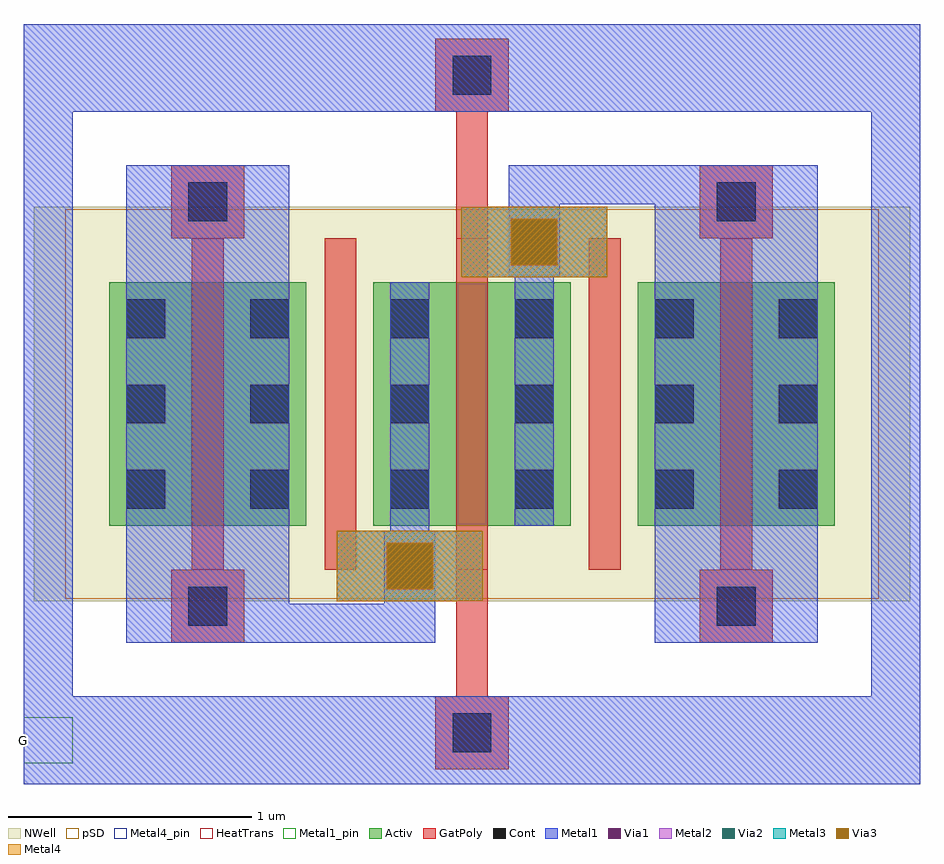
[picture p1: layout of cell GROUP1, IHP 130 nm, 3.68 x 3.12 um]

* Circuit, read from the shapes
.subckt GROUP1 G
XM1 pmos_priv1_1/S pmos_priv1_1/S pmos_priv1_1/S n1 sg13_lv_pmos w=1u l=0.13u
XM2 pmos_priv1_1/D G pmos_priv1_1/S n1 sg13_lv_pmos w=1u l=0.13u
XM3 pmos_priv1_1/D pmos_priv1_1/D pmos_priv1_1/D n1 sg13_lv_pmos w=1u l=0.13u
.ends

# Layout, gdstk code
from math import pi, radians
import gdstk
lib = gdstk.Library(unit=1e-6, precision=1e-09)
def R(c, l, rs):  # rectangles x0, y0, x1, y1
    for r in rs: c.add(gdstk.rectangle(r[:2], r[2:], *l))
def A(c, l, x, y, w, h, nx, ny, dx, dy):  # array of equal rectangles
    R(c, l, [(x+i*dx, y+j*dy, x+i*dx+w, y+j*dy+h) for i in range(nx) for j in range(ny)])
Activ = (1, 0)
GatPoly = (5, 0)
Cont = (6, 0)
Metal1 = (8, 0)
Metal1_pin = (8, 2)
Metal2 = (10, 0)
pSD = (14, 0)
Via1 = (19, 0)
Via2 = (29, 0)
Metal3 = (30, 0)
NWell = (31, 0)
Via3 = (49, 0)
Metal4 = (50, 0)
Metal4_pin = (50, 2)
HeatTrans = (51, 0)

pmos_priv3 = lib.new_cell('pmos_priv3')
R(pmos_priv3, Activ, [(0,0,0.3,0.3), (0,0,0.81,1), (0.51,0,0.81,0.3)])
R(pmos_priv3, GatPoly, [(0.255,-0.48,0.555,-0.18), (0.34,-0.18,0.47,1.18), (0.34,-0.18,0.47,1.18), (0.255,1.18,0.555,1.48)])
A(pmos_priv3, Cont, 0.07, 0.07, 0.16, 0.16, 1, 3, 0, 0.35)
A(pmos_priv3, Cont, 0.58, 0.07, 0.16, 0.16, 1, 3, 0, 0.35)
R(pmos_priv3, Cont, [(0.325,-0.41,0.485,-0.25), (0.325,1.25,0.485,1.41)])
R(pmos_priv3, Metal1, [(0.07,-0.48,0.74,1.48), (0.07,0,0.23,1), (0.07,0,0.23,1), (0.58,0,0.74,1), (0.58,0,0.74,1)])
R(pmos_priv3, pSD, [(-0.18,-0.3,0.99,1.3)])
R(pmos_priv3, NWell, [(-0.31,-0.31,1.12,1.31)])
R(pmos_priv3, HeatTrans, [(0.34,-0.18,0.47,1.18)])
pmos_priv3.add(gdstk.Label('pmos', (0.405,0.5), layer=63, texttype=0))
pmos_priv3.add(gdstk.Label('pmos', (0.405,0.5), layer=51, texttype=0))

pmos_priv1 = lib.new_cell('pmos_priv1')
R(pmos_priv1, Activ, [(0,0,0.3,0.3), (0,0,0.81,1), (0.51,0,0.81,0.3)])
R(pmos_priv1, GatPoly, [(0.255,-1,0.555,-0.7), (0.34,-0.7,0.47,-0.18), (0.34,-0.18,0.47,1.18), (0.34,-0.18,0.47,1.18), (0.34,1.18,0.47,1.7), (0.255,1.7,0.555,2)])
A(pmos_priv1, Cont, 0.07, 0.07, 0.16, 0.16, 1, 3, 0, 0.35)
A(pmos_priv1, Cont, 0.58, 0.07, 0.16, 0.16, 1, 3, 0, 0.35)
R(pmos_priv1, Cont, [(0.325,-0.93,0.485,-0.77), (0.325,1.77,0.485,1.93)])
R(pmos_priv1, Metal1, [(0.27,-1.06,0.54,-0.7), (0.045,-0.31,0.255,-0.02), (0.07,-0.035,0.23,0.015), (0.07,0,0.23,1), (0.07,0,0.23,1), (0.58,0,0.74,1), (0.58,0,0.74,1), (0.58,0.985,0.74,1.035), (0.555,1.02,0.765,1.31), (0.27,1.7,0.54,2.06)])
R(pmos_priv1, Metal2, [(-0.15,-0.31,0.45,-0.02), (0.05,-0.31,0.25,-0.02), (0.36,1.02,0.96,1.31), (0.56,1.02,0.76,1.31)])
R(pmos_priv1, pSD, [(-0.18,-0.3,0.99,1.3)])
R(pmos_priv1, Via1, [(0.055,-0.26,0.245,-0.07), (0.565,1.07,0.755,1.26)])
R(pmos_priv1, Via2, [(0.055,-0.26,0.245,-0.07), (0.565,1.07,0.755,1.26)])
R(pmos_priv1, Metal3, [(-0.15,-0.31,0.45,-0.02), (0.05,-0.31,0.25,-0.02), (0.36,1.02,0.96,1.31), (0.56,1.02,0.76,1.31)])
R(pmos_priv1, NWell, [(-0.31,-0.31,1.12,1.31)])
R(pmos_priv1, Via3, [(0.055,-0.26,0.245,-0.07), (0.565,1.07,0.755,1.26)])
R(pmos_priv1, Metal4, [(-0.15,-0.31,0.45,-0.02), (0.05,-0.31,0.25,-0.02), (0.36,1.02,0.96,1.31), (0.56,1.02,0.76,1.31)])
R(pmos_priv1, Metal4_pin, [(0.055,-0.26,0.245,-0.07), (0.565,1.07,0.755,1.26)])
R(pmos_priv1, HeatTrans, [(0.34,-0.18,0.47,1.18)])
pmos_priv1.add(gdstk.Label('pmos', (0.405,0.5), layer=63, texttype=0))
pmos_priv1.add(gdstk.Label('pmos', (0.405,0.5), layer=51, texttype=0))
pmos_priv1.add(gdstk.Label('S', (0.66,1.165), layer=50, texttype=0))
pmos_priv1.add(gdstk.Label('D', (0.15,-0.165), layer=50, texttype=0))

pmos_priv2 = lib.new_cell('pmos_priv2')
R(pmos_priv2, Activ, [(0,0,0.3,0.3), (0,0,0.81,1), (0.51,0,0.81,0.3)])
R(pmos_priv2, GatPoly, [(0.255,-0.48,0.555,-0.18), (0.34,-0.18,0.47,1.18), (0.34,-0.18,0.47,1.18), (0.255,1.18,0.555,1.48)])
A(pmos_priv2, Cont, 0.07, 0.07, 0.16, 0.16, 1, 3, 0, 0.35)
A(pmos_priv2, Cont, 0.58, 0.07, 0.16, 0.16, 1, 3, 0, 0.35)
R(pmos_priv2, Cont, [(0.325,-0.41,0.485,-0.25), (0.325,1.25,0.485,1.41)])
R(pmos_priv2, Metal1, [(0.07,-0.48,0.74,1.48), (0.07,0,0.23,1), (0.07,0,0.23,1), (0.58,0,0.74,1), (0.58,0,0.74,1)])
R(pmos_priv2, pSD, [(-0.18,-0.3,0.99,1.3)])
R(pmos_priv2, NWell, [(-0.31,-0.31,1.12,1.31)])
R(pmos_priv2, HeatTrans, [(0.34,-0.18,0.47,1.18)])
pmos_priv2.add(gdstk.Label('pmos', (0.405,0.5), layer=63, texttype=0))
pmos_priv2.add(gdstk.Label('pmos', (0.405,0.5), layer=51, texttype=0))

group1 = lib.new_cell('GROUP1')
R(group1, GatPoly, [(0.215,0.12,0.345,1.48), (1.3,0.12,1.43,1.48)])
R(group1, Metal1, [(-1.02,-0.76,2.66,-0.4), (-1.02,-0.76,-0.82,2.36), (2.46,-0.76,2.66,2.36), (0.07,-0.18,0.67,-0.02), (0.46,-0.02,0.67,0.28), (0.97,1.32,1.18,1.62), (0.97,1.62,1.57,1.78), (-1.02,2,2.66,2.36)])
R(group1, Metal1_pin, [(-1.02,-0.675,-0.82,-0.485)])
group1.add(gdstk.Reference(pmos_priv3, (2.31,1.3), rotation=pi))
group1.add(gdstk.Reference(pmos_priv1, (1.225,1.3), rotation=pi))
group1.add(gdstk.Reference(pmos_priv2, (0.14,1.3), rotation=pi))
group1.add(gdstk.Label('G', (-1.02,-0.58), layer=8, texttype=0))
group1.add(gdstk.Label('?', (0.22,2.66), layer=1000, texttype=0))
group1.add(gdstk.Label('?', (0.82,2.66), layer=1000, texttype=0))
group1.add(gdstk.Label('?', (1.42,2.66), layer=1000, texttype=0))

lib.write_gds('GROUP1.gds')
